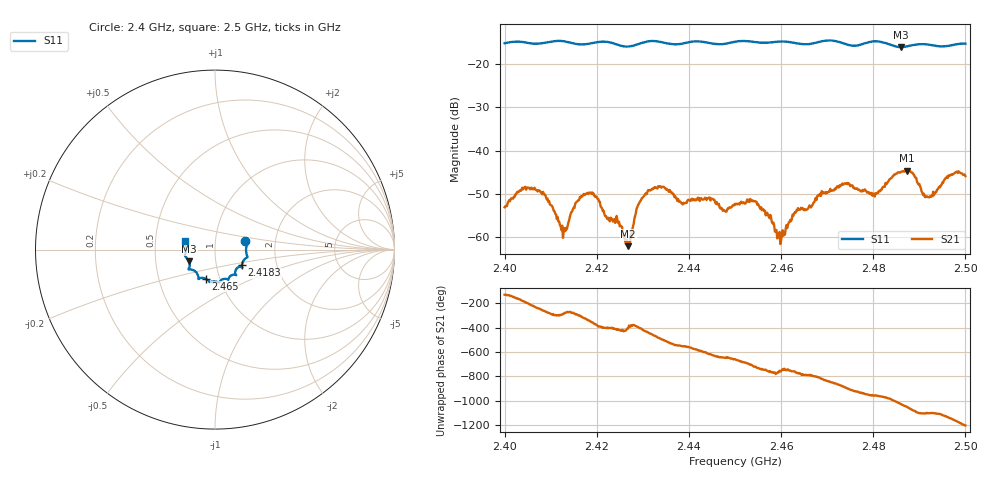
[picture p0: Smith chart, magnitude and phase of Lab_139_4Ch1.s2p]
# Hz S RI R 50
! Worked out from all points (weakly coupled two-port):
!   601 points, 2.4 GHz to 2.5 GHz, reference 50 ohm
!   highest |S21| = -44.63 dB at 2.4873 GHz (marker M1); lowest = -62.1 dB at 2.4268 GHz (marker M2)
!   lowest |S11| = -16.0 dB at 2.486 GHz (marker M3), VSWR 1.37, Z = 37.2 - j5 ohm
!   |S11| at or under -10 dB: start of sweep to end of sweep
!   S12 and S22 are empty: the file has one direction only
!   S11 on the Smith chart (normalised r, x): 2.4 GHz: 1.40, +0.13; 2.4183 GHz: 1.33, -0.24; 2.465 GHz: 0.86, -0.29; 2.5 GHz: 0.71, +0.07
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2.4e9  0.169 0.0459  -0.00137 -0.00174  0 0  0 0
2.407e9  0.1728 -0.00327  -0.0019 0.00288  0 0  0 0
2.413167e9  0.1776 -0.0445  0.000136 0.00116  0 0  0 0
2.416667e9  0.1549 -0.0684  0.00193 0.0023  0 0  0 0
2.418333e9  0.1498 -0.0869  0.00307 0.00111  0 0  0 0
2.426833e9  0.1192 -0.1071  0.000537 -0.000571  0 0  0 0
2.429333e9  0.1126 -0.1319  0.00185 -0.00177  0 0  0 0
2.433333e9  0.1167 -0.1411  -0.00209 -0.00326  0 0  0 0
2.438667e9  0.079 -0.1548  -0.00232 0.000541  0 0  0 0
2.45e9  0.0252 -0.1806  0.00121 0.0021  0 0  0 0
2.454167e9  0.013 -0.1806  0.00259 -7.86e-05  0 0  0 0
2.459667e9  -0.0269 -0.1812  0.000946 -0.000645  0 0  0 0
2.465e9  -0.0528 -0.162  0.000728 -0.00191  0 0  0 0
2.466667e9  -0.0713 -0.1576  0.000663 -0.0022  0 0  0 0
2.4735e9  -0.0937 -0.1477  -0.00389 -0.00108  0 0  0 0
2.48e9  -0.1472 -0.1103  -0.00166 0.00266  0 0  0 0
2.483333e9  -0.1417 -0.0956  -0.000508 0.00441  0 0  0 0
2.486e9  -0.1436 -0.0656  0.00362 0.00437  0 0  0 0
2.487333e9  -0.1525 -0.0525  0.00522 0.00268  0 0  0 0
2.491667e9  -0.1671 -0.0296  0.00274 -0.0011  0 0  0 0
2.4965e9  -0.1625 0.0223  0.00227 -0.00457  0 0  0 0
2.5e9  -0.1667 0.0473  -0.00296 -0.00413  0 0  0 0
